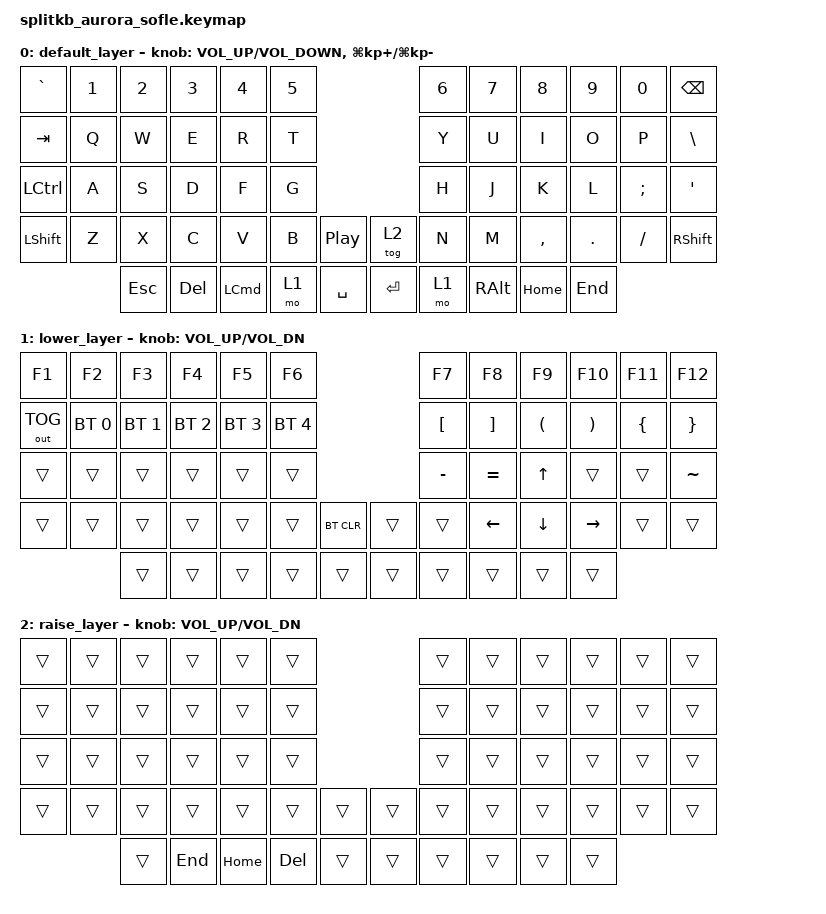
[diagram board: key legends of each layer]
/*
 * Copyright (c) 2023 The ZMK Contributors
 *
 * SPDX-License-Identifier: MIT
 */

#include <behaviors.dtsi>
#include <dt-bindings/zmk/bt.h>
#include <dt-bindings/zmk/keys.h>
#include <dt-bindings/zmk/outputs.h>

/* Uncomment this block if using RGB
&led_strip {
    chain-length = <6>;
    // chain-length = <35>; // Uncomment if using both per-key and underglow LEDs
    // chain-length = <29>; // Uncomment if using only per-key LEDs.
};
 */

/ {
    keymap {
        compatible = "zmk,keymap";

        default_layer {
            bindings = <
&kp GRAVE  &kp N1  &kp N2      &kp N3      &kp N4            &kp N5                               &kp N6  &kp N7         &kp N8     &kp N9   &kp N0    &kp BSPC
&kp TAB    &kp Q   &kp W       &kp E       &kp R             &kp T                                &kp Y   &kp U          &kp I      &kp O    &kp P     &kp BACKSLASH
&kp LCTRL  &kp A   &kp S       &kp D       &kp F             &kp G                                &kp H   &kp J          &kp K      &kp L    &kp SEMI  &kp SQT
&kp LSHFT  &kp Z   &kp X       &kp C       &kp V             &kp B   &kp C_PLAY_PAUSE    &tog 2   &kp N   &kp M          &kp COMMA  &kp DOT  &kp FSLH  &kp RSHFT
                   &kp ESCAPE  &kp DELETE  &kp LEFT_COMMAND  &mo 1   &kp SPACE           &kp RET  &mo 1   &kp RIGHT_ALT  &kp HOME   &kp END
            >;

            sensor-bindings =
                <&inc_dec_kp C_VOLUME_UP C_VOLUME_DOWN>,
                <&inc_dec_kp LG(KP_PLUS) LG(KP_MINUS)>;
        };

        lower_layer {
            bindings = <
&kp F1        &kp F2          &kp F3        &kp F4        &kp F5        &kp F6                    &kp F7     &kp F8     &kp F9                &kp F10                &kp F11         &kp F12
&out OUT_TOG  &bt BT_SEL 0    &bt BT_SEL 1  &bt BT_SEL 2  &bt BT_SEL 3  &bt BT_SEL 4              &kp LBKT   &kp RBKT   &kp LEFT_PARENTHESIS  &kp RIGHT_PARENTHESIS  &kp LEFT_BRACE  &kp RIGHT_BRACE
&trans        &trans  &trans  &trans        &trans        &trans                                  &kp MINUS  &kp EQUAL  &kp UP_ARROW          &trans                 &trans          &kp TILDE
&trans        &trans  &trans  &trans        &trans        &trans      &bt BT_CLR          &trans  &trans     &kp LEFT   &kp DOWN_ARROW        &kp RIGHT              &trans          &trans
                            &trans        &trans        &trans        &trans              &trans  &trans  &trans     &trans     &trans                &trans
            >;

            sensor-bindings = <&inc_dec_kp C_VOL_UP C_VOL_DN>;
        };

        raise_layer {
            bindings = <
&trans  &trans  &trans  &trans   &trans    &trans                        &trans  &trans  &trans  &trans  &trans  &trans
&trans  &trans  &trans  &trans   &trans    &trans                        &trans  &trans  &trans  &trans  &trans  &trans
&trans  &trans  &trans  &trans   &trans    &trans                        &trans  &trans  &trans  &trans  &trans  &trans
&trans  &trans  &trans  &trans   &trans    &trans      &trans    &trans  &trans  &trans  &trans  &trans  &trans  &trans
                &trans  &kp END  &kp HOME  &kp DELETE  &trans    &trans  &trans  &trans  &trans  &trans
            >;

            sensor-bindings = <&inc_dec_kp C_VOL_UP C_VOL_DN>;
        };
    };
};
